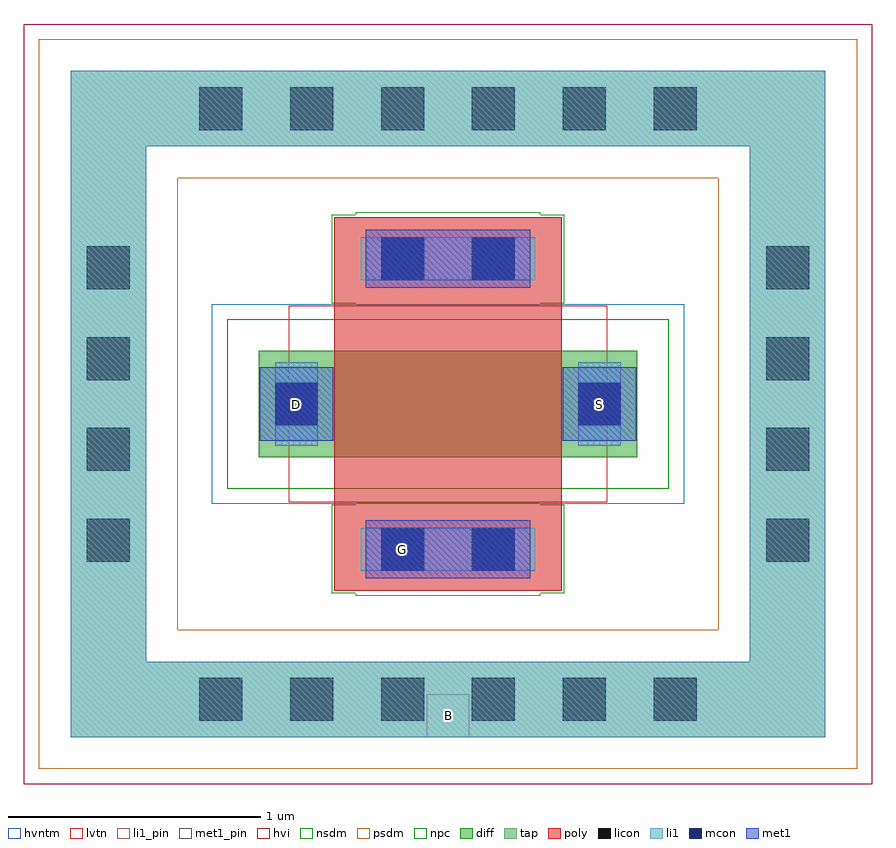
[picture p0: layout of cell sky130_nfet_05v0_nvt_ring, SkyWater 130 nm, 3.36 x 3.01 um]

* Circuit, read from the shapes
.subckt sky130_nfet_05v0_nvt_ring B D G S
XM1 S G D B sky130_fd_pr__nfet_05v0_nvt w=0.42 l=0.9
.ends

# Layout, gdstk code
import gdstk
lib = gdstk.Library(unit=1e-6, precision=1e-09)
def R(c, l, rs):  # rectangles x0, y0, x1, y1
    for r in rs: c.add(gdstk.rectangle(r[:2], r[2:], *l))
def A(c, l, x, y, w, h, nx, ny, dx, dy):  # array of equal rectangles
    R(c, l, [(x+i*dx, y+j*dy, x+i*dx+w, y+j*dy+h) for i in range(nx) for j in range(ny)])
def P(c, l, *ps):  # polygons
    for p in ps: c.add(gdstk.Polygon(p, *l))
diff = (65, 20)
tap = (65, 44)
poly = (66, 20)
licon = (66, 44)
li1_pin = (67, 16)
li1 = (67, 20)
mcon = (67, 44)
met1_pin = (68, 16)
met1 = (68, 20)
hvi = (75, 20)
nsdm = (93, 44)
psdm = (94, 20)
npc = (95, 20)
hvntm = (125, 20)
lvtn = (125, 44)

nfet = lib.new_cell('nfet')
R(nfet, diff, [(0,0,1.5,0.42)])
P(nfet, tap, [(-0.745,-1.11),(-0.745,1.23),(-0.445,1.23),(-0.445,-0.81),(1.945,-0.81),(1.945,1.23),(-0.745,1.23),(-0.745,1.53),(2.245,1.53),(2.245,-1.11)])
R(nfet, poly, [(0.3,-0.53,1.2,-0.2), (0.3,-0.2,1.2,0.62), (0.3,0.62,1.2,0.95)])
A(nfet, licon, -0.235, -1.045, 0.17, 0.17, 6, 2, 0.36, 2.34)
A(nfet, licon, -0.68, -0.415, 0.17, 0.17, 1, 4, 0, 0.36)
A(nfet, licon, 2.01, -0.415, 0.17, 0.17, 1, 4, 0, 0.36)
R(nfet, licon, [(0.485,-0.45,0.655,-0.28), (0.845,-0.45,1.015,-0.28), (0.065,0.125,0.235,0.295), (1.265,0.125,1.435,0.295), (0.485,0.7,0.655,0.87), (0.845,0.7,1.015,0.87)])
R(nfet, li1, [(0.405,-0.45,1.095,-0.28), (0.065,0.045,0.235,0.375), (1.265,0.045,1.435,0.375), (0.405,0.7,1.095,0.87)])
P(nfet, li1, [(-0.745,-1.11),(-0.745,1.23),(-0.445,1.23),(-0.445,-0.81),(1.945,-0.81),(1.945,1.23),(-0.745,1.23),(-0.745,1.53),(2.245,1.53),(2.245,-1.11)])
R(nfet, mcon, [(0.485,-0.45,0.655,-0.28), (0.845,-0.45,1.015,-0.28), (0.065,0.125,0.235,0.295), (1.265,0.125,1.435,0.295), (0.485,0.7,0.655,0.87), (0.845,0.7,1.015,0.87)])
R(nfet, met1, [(0.425,-0.48,1.075,-0.25), (0.005,0.065,0.295,0.355), (1.205,0.065,1.495,0.355), (0.425,0.67,1.075,0.9)])
R(nfet, hvi, [(-0.93,-1.295,2.43,1.715)])
R(nfet, nsdm, [(-0.125,-0.125,1.625,0.545)])
P(nfet, psdm, [(-0.87,-1.235),(-0.87,1.105),(-0.32,1.105),(-0.32,-0.685),(1.82,-0.685),(1.82,1.105),(-0.87,1.105),(-0.87,1.655),(2.37,1.655),(2.37,-1.235)])
R(nfet, npc, [(0.29,-0.54,1.21,-0.19), (0.29,0.61,1.21,0.96)])
R(nfet, hvntm, [(-0.185,-0.185,1.685,0.605)])
R(nfet, lvtn, [(0.12,-0.18,1.38,0.6)])

sky130_nfet_05v0_nvt_rin = lib.new_cell('sky130_nfet_05v0_nvt_ring')
R(sky130_nfet_05v0_nvt_rin, li1_pin, [(0.665,-1.11,0.835,-0.94)])
R(sky130_nfet_05v0_nvt_rin, met1_pin, [(0.485,-0.45,0.655,-0.28), (0.065,0.125,0.235,0.295), (1.265,0.125,1.435,0.295)])
R(sky130_nfet_05v0_nvt_rin, npc, [(0.385,-0.55,0.755,-0.18), (0.745,-0.55,1.115,-0.18), (0.385,0.6,0.755,0.97), (0.745,0.6,1.115,0.97)])
sky130_nfet_05v0_nvt_rin.add(gdstk.Reference(nfet, (0,0)))
sky130_nfet_05v0_nvt_rin.add(gdstk.Label('D', (0.15,0.21), layer=68, texttype=5))
sky130_nfet_05v0_nvt_rin.add(gdstk.Label('S', (1.35,0.21), layer=68, texttype=5))
sky130_nfet_05v0_nvt_rin.add(gdstk.Label('G', (0.57,-0.365), layer=68, texttype=5))
sky130_nfet_05v0_nvt_rin.add(gdstk.Label('B', (0.75,-1.025), layer=67, texttype=5))

lib.write_gds('sky130_nfet_05v0_nvt_ring.gds')
